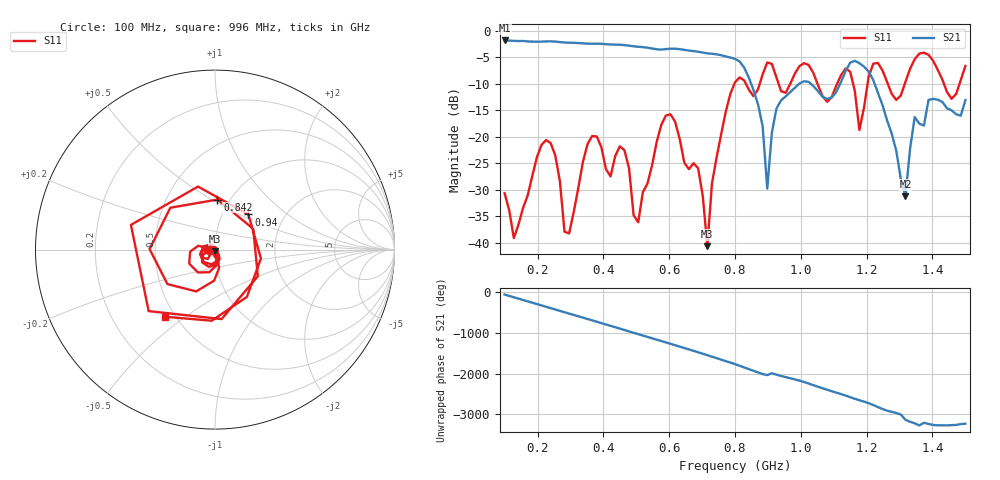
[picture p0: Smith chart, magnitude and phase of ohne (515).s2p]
! NanoVNA-App
! Date: 2025-09-25 14:24:48
! Start: 100MHz Stop: 1,5GHz Points: 101
! S-Parameter data: F S11 S21 S12 S22
# Hz S RI R 50
!  Frequency  S11_Real  S11_Imag  S21_Real  S21_Imag  S12_Real  S12_Imag  S22_Real  S22_Imag
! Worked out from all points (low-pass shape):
!   101 points, 100 MHz to 1.5 GHz, reference 50 ohm
!   highest |S21| = -1.79 dB at 100 MHz (marker M1); lowest = -31.2 dB at 1.318 GHz (marker M2)
!   |S21| within 3 dB of the highest: start of sweep to 770.9 MHz
!   lowest |S11| = -40.6 dB at 716 MHz (marker M3), VSWR 1.02, Z = 49.9 - j0.917 ohm
!   |S11| at or under -10 dB: start of sweep to 798 MHz; 833.3 MHz to 875.1 MHz (41.82 MHz wide, 4.9 % of centre); 1.051 GHz to 1.11 GHz (59.33 MHz wide, 5.49 % of centre) (the widest 3 of 7)
!   S12 and S22 are empty: the file has one direction only
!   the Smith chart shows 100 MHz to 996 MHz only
!   S11 on the Smith chart (normalised r, x): 100 MHz: 0.94, -0.01; 842 MHz: 0.88, +0.53; 940 MHz: 1.32, +0.56; 996 MHz: 0.44, -0.42
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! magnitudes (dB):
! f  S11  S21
! 100 MHz  -30.6  -1.8
! 128 MHz  -39.1  -1.9
! 226 MHz  -20.6  -2.0
! 296 MHz  -38.2  -2.2
! 338 MHz  -24.7  -2.3
! 464 MHz  -22.5  -2.7
! 506 MHz  -36.1  -3.0
! 576 MHz  -17.7  -3.5
! 688 MHz  -25.9  -3.9
! 716 MHz  -40.6  -4.2
! 800 MHz  -9.7  -5.2
! 842 MHz  -11.1  -8.8
! 898 MHz  -6.0  -29.8
! 940 MHz  -11.4  -13.1
! 996 MHz  -6.6  -9.9
! 1.038 GHz  -7.9  -10.4
! 1.178 GHz  -18.7  -6.1
! 1.22 GHz  -6.2  -9.3
! 1.276 GHz  -11.9  -19.4
! 1.318 GHz  -9.6  -31.2
! 1.346 GHz  -5.3  -16.3
! 1.5 GHz  -6.6  -13.1
